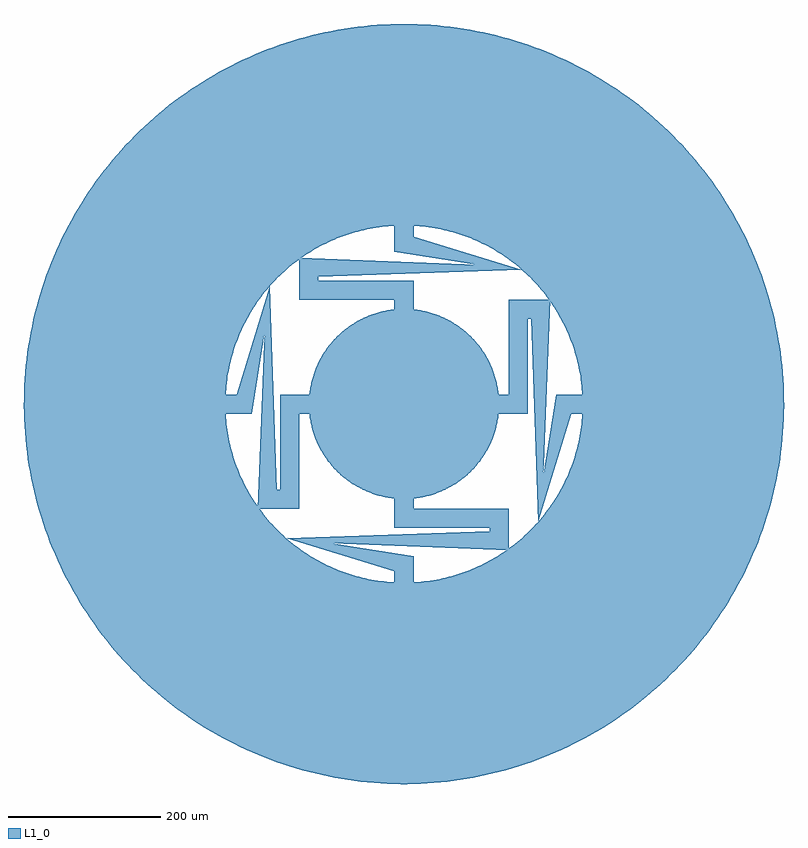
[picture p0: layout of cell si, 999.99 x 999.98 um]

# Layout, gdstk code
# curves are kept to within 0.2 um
import gdstk
lib = gdstk.Library(unit=1e-6, precision=1e-09)
def P(c, l, *ps):  # polygons
    for p in ps: c.add(gdstk.Polygon(p, *l))
L1_0 = (1, 0)

c_si = lib.new_cell('si')
P(c_si, L1_0, [(-1.094,-124.995),(-14.19,-124.192),(-24.989,-122.477),(-37.69,-119.183),(-47.962,-115.433),(-57.867,-110.799),(-69.162,-104.123),(-79.695,-96.3),(-89.35,-87.416),(-98.021,-77.569),(-104.425,-68.706),(-111.051,-57.381),(-116.454,-45.425),(-119.979,-35.073),(-122.994,-22.304),(-124.473,-11.469),(-124.989,1.641),(-124.368,12.558),(-122.366,25.525),(-119.017,38.211),(-115.222,48.466),(-109.507,60.277),(-103.82,69.617),(-95.951,80.115),(-87.024,89.732),(-77.14,98.359),(-68.248,104.724),(-56.895,111.301),(-46.95,115.848),(-36.645,119.508),(-23.917,122.691),(-10.925,124.522),(2.188,124.981),(15.276,124.063),(26.06,122.253),(36.645,119.508),(48.97,115.008),(60.755,109.242),(70.07,103.514),(80.535,95.599),(88.582,88.195),(97.338,78.424),(103.82,69.617),(109.507,60.277),(115.222,48.466),(119.667,36.122),(122.794,23.38),(124.368,12.558),(124.999,-0.547),(124.473,-11.469),(122.585,-24.453),(119.346,-37.168),(114.793,-49.473),(108.975,-61.233),(103.206,-70.523),(96.648,-79.273),(87.806,-88.967),(79.695,-96.3),(69.162,-104.123),(57.867,-110.799),(47.962,-115.433),(37.69,-119.183),(24.989,-122.477),(12.014,-124.421)],
  [(-4.375,-499.981),(-30.609,-499.062),(-56.759,-496.768),(-82.752,-493.105),(-99.958,-489.907),(-125.531,-483.985),(-150.759,-476.73),(-175.57,-468.161),(-199.898,-458.302),(-215.815,-451.025),(-239.188,-439.078),(-261.902,-425.92),(-283.894,-411.588),(-305.103,-396.121),(-325.472,-379.563),(-344.944,-361.959),(-357.4,-349.665),(-375.258,-330.426),(-392.082,-310.277),(-407.826,-289.272),(-417.699,-274.822),(-431.547,-252.522),(-440.12,-237.265),(-451.965,-213.839),(-462.565,-189.825),(-471.89,-165.287),(-479.914,-140.294),(-486.616,-114.914),(-491.976,-89.217),(-494.797,-71.945),(-497.891,-45.878),(-499.612,-19.685),(-499.957,6.563),(-499.421,24.056),(-498.273,41.519),(-495.408,67.612),(-491.176,93.519),(-487.603,110.651),(-483.432,127.648),(-476.066,152.843),(-470.426,169.41),(-464.209,185.77),(-453.819,209.876),(-441.319,235),(0,235),(-12.333,234.676),(-28.719,233.239),(-40.92,231.41),(-57.007,227.981),(-72.815,223.435),(-84.44,219.305),(-95.834,214.572),(-110.608,207.342),(-121.337,201.252),(-135.118,192.271),(-148.236,182.349),(-157.602,174.318),(-169.41,162.866),(-177.724,153.751),(-185.548,144.212),(-195.181,130.879),(-201.781,120.456),(-209.712,106.046),(-216.617,91.117),(-221.1,79.623),(-226.128,63.962),(-229.173,52.006),(-232.25,35.848),(-233.811,23.61),(-234.89,7.197),(-234.944,-5.141),(-234.009,-21.563),(-232.555,-33.814),(-229.62,-49.999),(-226.679,-61.98),(-223.114,-73.791),(-217.406,-89.218),(-212.424,-100.504),(-204.873,-115.117),(-196.319,-129.166),(-189.269,-139.292),(-181.698,-149.033),(-170.828,-161.378),(-159.121,-172.932),(-149.826,-181.044),(-140.118,-188.658),(-126.578,-197.997),(-116.013,-204.367),(-101.433,-211.982),(-86.356,-218.558),(-74.767,-222.789),(-62.972,-226.406),(-46.98,-230.256),(-30.759,-232.978),(-18.489,-234.272),(-2.056,-234.991),(10.279,-234.775),(26.677,-233.481),(38.893,-231.759),(51.003,-229.399),(66.924,-225.269),(82.518,-220.036),(93.952,-215.402),(108.79,-208.302),(119.572,-202.306),(130.024,-195.752),(143.399,-186.177),(152.972,-178.395),(165.076,-167.257),(173.626,-158.363),(181.698,-149.033),(189.269,-139.292),(196.319,-129.166),(202.827,-118.685),(210.632,-104.207),(215.811,-93.009),(220.395,-81.555),(224.371,-69.875),(227.729,-58.004),(231.229,-41.932),(233.111,-29.739),(234.62,-13.36),(234.998,-1.028),(234.728,11.306),(233.811,23.61),(232.25,35.848),(229.173,52.006),(226.128,63.962),(222.46,75.741),(216.617,91.117),(211.536,102.36),(205.873,113.32),(199.642,123.969),(192.86,134.275),(185.548,144.212),(177.724,153.751),(169.41,162.866),(160.629,171.533),(148.236,182.349),(138.462,189.877),(128.306,196.882),(114.22,205.375),(103.284,211.086),(88.266,217.794),(72.815,223.435),(57.007,227.981),(44.963,230.658),(28.719,233.239),(16.438,234.424),(0,235),(-441.319,235),(-433.74,248.736),(-424.769,263.763),(-415.278,278.467),(-405.279,292.83),(-394.782,306.834),(-383.802,320.462),(-372.352,333.697),(-360.446,346.524),(-341.763,364.963),(-328.781,376.7),(-315.396,387.976),(-301.625,398.776),(-287.485,409.087),(-272.992,418.898),(-258.165,428.195),(-243.021,436.968),(-227.58,445.205),(-211.86,452.897),(-195.88,460.034),(-179.66,466.607),(-163.221,472.609),(-146.581,478.031),(-129.762,482.868),(-112.783,487.114),(-95.667,490.763),(-69.779,495.107),(-52.409,497.246),(-34.975,498.775),(-17.498,499.694),(0,500),(17.498,499.694),(43.699,498.087),(69.779,495.107),(95.667,490.763),(121.291,485.065),(146.581,478.031),(171.467,469.68),(195.88,460.034),(211.86,452.897),(235.337,441.154),(258.165,428.195),(280.281,414.056),(294.6,403.994),(315.396,387.976),(335.323,370.888),(354.326,352.779),(372.352,333.697),(389.352,313.696),(405.279,292.83),(415.278,278.467),(429.321,256.289),(442.179,233.404),(453.819,209.876),(464.209,185.77),(473.318,161.151),(481.124,136.089),(487.603,110.651),(491.176,93.519),(495.408,67.612),(498.273,41.519),(499.421,24.056),(499.995,-2.188),(499.191,-28.425),(497.012,-54.584),(494.797,-71.945),(490.339,-97.813),(486.616,-114.914),(479.914,-140.294),(471.89,-165.287),(462.565,-189.825),(451.965,-213.839),(440.12,-237.265),(427.061,-260.036),(412.826,-282.09),(402.701,-296.365),(386.592,-317.091),(369.418,-336.943),(351.225,-355.866),(332.065,-373.809),(311.989,-390.721),(291.054,-406.556),(269.316,-421.271),(254.408,-430.438),(231.467,-443.196),(207.888,-454.733),(183.737,-465.017),(159.079,-474.019),(142.392,-479.296),(117.042,-486.108),(91.369,-491.581),(65.444,-495.699),(39.339,-498.45),(13.125,-499.828)])
c_si.add(gdstk.FlexPath([(0,0),(0,150),(-125,150),(-125,180),(125,180),(125,180),(0,210),(0,235)], 25, ends="flush", simple_path=True, layer=1, datatype=0))  # L1_0
c_si.add(gdstk.FlexPath([(0,0),(-150,0),(-150,-125),(-180,-125),(-180,125),(-180,125),(-210,0),(-235,0)], 25, ends="flush", simple_path=True, layer=1, datatype=0))  # L1_0
c_si.add(gdstk.FlexPath([(0,0),(0,-150),(125,-150),(125,-180),(-125,-180),(-125,-180),(0,-210),(0,-235)], 25, ends="flush", simple_path=True, layer=1, datatype=0))  # L1_0
c_si.add(gdstk.FlexPath([(0,0),(150,0),(150,125),(180,125),(180,-125),(180,-125),(210,0),(235,0)], 25, ends="flush", simple_path=True, layer=1, datatype=0))  # L1_0

lib.write_gds('si.gds')
